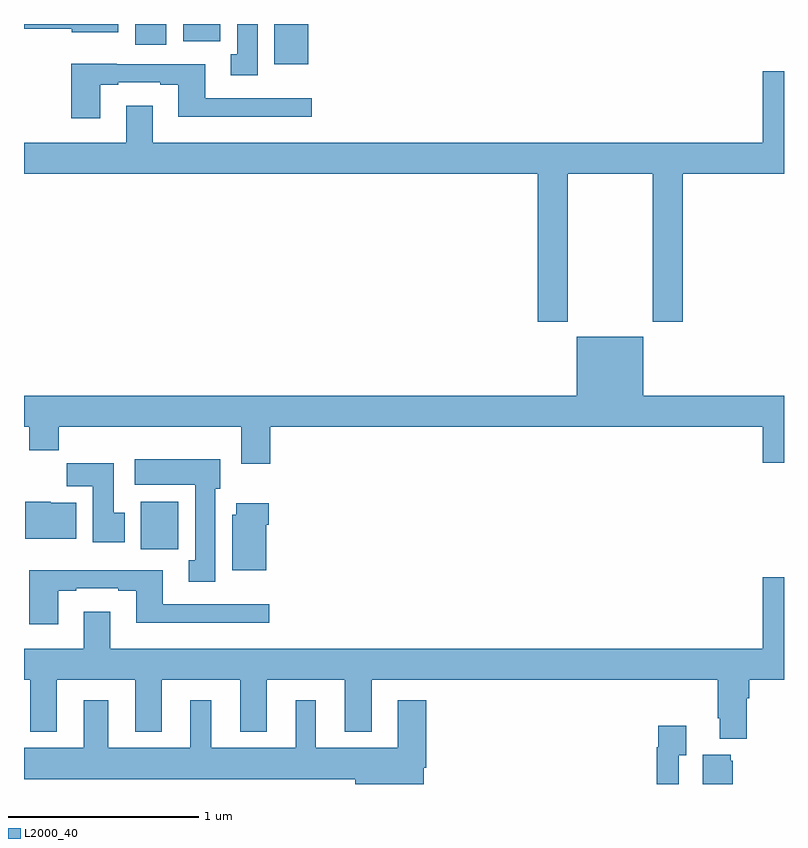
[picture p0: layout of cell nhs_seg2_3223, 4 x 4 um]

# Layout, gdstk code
import gdstk
lib = gdstk.Library(unit=1e-6, precision=1e-09)
def R(c, l, rs):  # rectangles x0, y0, x1, y1
    for r in rs: c.add(gdstk.rectangle(r[:2], r[2:], *l))
def P(c, l, *ps):  # polygons
    for p in ps: c.add(gdstk.Polygon(p, *l))
L2000_40 = (2000, 40)

nhs_seg2_3223 = lib.new_cell('nhs_seg2_3223')
R(nhs_seg2_3223, L2000_40, [(281.615,603.036,281.811,603.286), (282.317,605.588,282.496,605.8), (281.585,605.691,281.749,605.8), (281.837,605.708,282.034,605.8)])
P(nhs_seg2_3223, L2000_40, [(281.497,605.8),(281,605.8),(281,605.774),(281.25,605.774),(281.25,605.756),(281.497,605.756)],
  [(282.229,605.8),(282.122,605.8),(282.122,605.642),(282.089,605.642),(282.089,605.529),(282.229,605.529)],
  [(281.401,605.481),(281.497,605.481),(281.497,605.493),(281.717,605.493),(281.717,605.481),(281.813,605.481),(281.813,605.312),(282.514,605.312),(282.514,605.409),(281.953,605.409),(281.953,605.589),(281.489,605.589),(281.489,605.59),(281.249,605.59),(281.249,605.304),(281.401,605.304)],
  [(283.863,605.012),(284.308,605.012),(284.308,604.233),(284.468,604.233),(284.468,605.012),(285,605.012),(285,605.551),(284.888,605.551),(284.888,605.176),(281.677,605.176),(281.677,605.371),(281.537,605.371),(281.537,605.176),(281,605.176),(281,605.012),(283.703,605.012),(283.703,604.233),(283.863,604.233)],
  [(282.296,603.68),(284.888,603.68),(284.888,603.492),(285,603.492),(285,603.844),(284.26,603.844),(284.26,604.153),(283.91,604.153),(283.91,603.844),(281,603.844),(281,603.68),(281.027,603.68),(281.027,603.556),(281.183,603.556),(281.183,603.68),(282.143,603.68),(282.143,603.486),(282.296,603.486)],
  [(282.007,603.354),(282.034,603.354),(282.034,603.508),(281.583,603.508),(281.583,603.374),(281.9,603.374),(281.9,602.977),(281.867,602.977),(281.867,602.865),(282.007,602.865)],
  [(281.53,603.228),(281.473,603.228),(281.473,603.487),(281.224,603.487),(281.224,603.368),(281.363,603.368),(281.363,603.072),(281.53,603.072)],
  [(281.275,603.28),(281.142,603.28),(281.142,603.286),(281.006,603.286),(281.006,603.092),(281.275,603.092)],
  [(282.274,603.164),(282.287,603.164),(282.287,603.277),(282.116,603.277),(282.116,603.216),(282.095,603.216),(282.095,602.924),(282.274,602.924)],
  [(281.179,602.817),(281.275,602.817),(281.275,602.829),(281.495,602.829),(281.495,602.817),(281.591,602.817),(281.591,602.648),(282.292,602.648),(282.292,602.745),(281.731,602.745),(281.731,602.926),(281.027,602.926),(281.027,602.64),(281.179,602.64)],
  [(284.803,602.252),(284.816,602.252),(284.816,602.348),(285,602.348),(285,602.887),(284.888,602.887),(284.888,602.512),(281.455,602.512),(281.455,602.707),(281.315,602.707),(281.315,602.512),(281,602.512),(281,602.348),(281.033,602.348),(281.033,602.075),(281.173,602.075),(281.173,602.348),(281.585,602.348),(281.585,602.075),(281.725,602.075),(281.725,602.348),(282.137,602.348),(282.137,602.075),(282.277,602.075),(282.277,602.348),(282.689,602.348),(282.689,602.075),(282.829,602.075),(282.829,602.348),(284.651,602.348),(284.651,602.146),(284.663,602.146),(284.663,602.039),(284.803,602.039)],
  [(283.105,601.886),(283.118,601.886),(283.118,602.242),(282.968,602.242),(282.968,601.99),(282.535,601.99),(282.535,602.242),(282.431,602.242),(282.431,601.99),(281.986,601.99),(281.986,602.242),(281.876,602.242),(281.876,601.99),(281.443,601.99),(281.443,602.242),(281.315,602.242),(281.315,601.99),(281,601.99),(281,601.826),(282.743,601.826),(282.743,601.8),(283.105,601.8)],
  [(284.445,601.951),(284.485,601.951),(284.485,602.107),(284.337,602.107),(284.337,601.994),(284.329,601.994),(284.329,601.8),(284.445,601.8)],
  [(284.731,601.923),(284.72,601.923),(284.72,601.954),(284.573,601.954),(284.573,601.8),(284.731,601.8)])

lib.write_gds('nhs_seg2_3223.gds')
